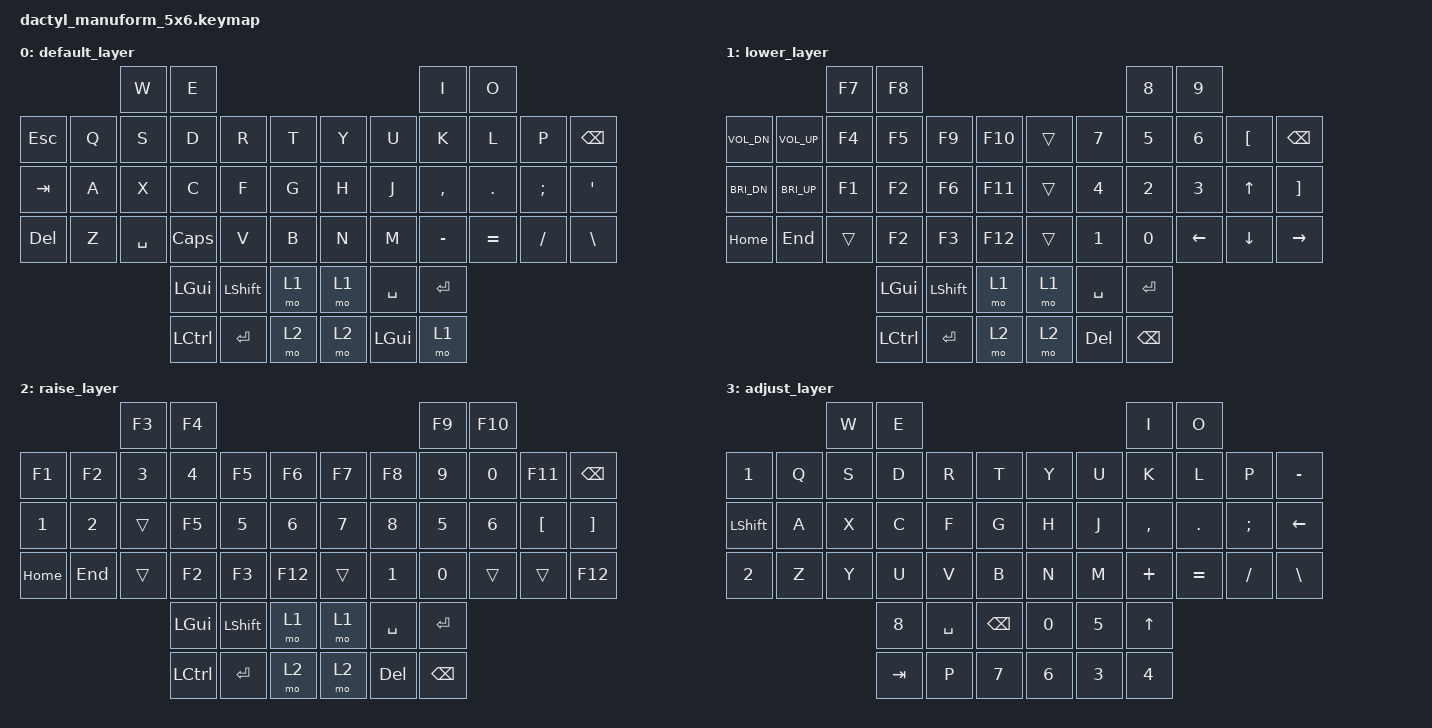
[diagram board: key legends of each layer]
#include <behaviors.dtsi>
#include <dt-bindings/zmk/keys.h>
#include <dt-bindings/zmk/bt.h>
#include <dt-bindings/zmk/outputs.h>

#define DEFAULT 0
#define LWR 1
#define RSE 2
#define ADJ 3

/ {
    keymap {
        compatible = "zmk,keymap";

        default_layer {
        bindings = <
                    &kp W       &kp E                                               &kp I       &kp O
&kp ESC &kp Q       &kp S       &kp D       &kp R       &kp T     &kp Y &kp U       &kp K       &kp L       &kp P         &kp BSPC
&kp TAB &kp A       &kp X       &kp C       &kp F       &kp G     &kp H &kp J       &kp COMMA   &kp DOT     &kp SEMI      &kp SQT
&kp DEL &kp Z       &kp SPACE   &kp CAPS    &kp V       &kp B     &kp N &kp M       &kp MINUS   &kp EQUAL   &kp FSLH      &kp BSLH
                                &kp LGUI    &kp LSHIFT  &mo 1     &mo 1 &kp SPACE   &kp ENTER
                                &kp LCTRL   &kp ENTER   &mo 2     &mo 2 &kp LGUI     &mo 1
                                                                                                                                  
                                            
            >;
        };

        lower_layer {
            bindings = <
                          &kp F7    &kp F8                                                 &kp N8   &kp N9
&kp C_VOL_DN &kp C_VOL_UP &kp F4    &kp F5   &kp F9     &kp F10        &trans    &kp N7    &kp N5   &kp N6   &kp LBKT &kp BSPC 
&kp C_BRI_DN &kp C_BRI_UP &kp F1    &kp F2   &kp F6     &kp F11        &trans    &kp N4    &kp N2   &kp N3   &kp UP   &kp RBKT
&kp HOME     &kp END      &trans    &kp F2   &kp F3     &kp F12        &trans    &kp N1    &kp N0   &kp LEFT &kp DOWN &kp RIGHT
                                    &kp LGUI  &kp LSHIFT  &mo 1          &mo 1    &kp SPACE &kp ENTER
                                    &kp LCTRL &kp ENTER   &mo 2          &mo 2    &kp DEL   &kp BSPC

            >;
        };

        raise_layer {
            bindings = <
                          &kp F3    &kp F4                                                &kp F9   &kp F10
&kp F1       &kp F2       &kp N3    &kp N4   &kp F5  &kp F6           &kp F7    &kp F8    &kp N9   &kp N0  &kp F11  &kp BSPC 
&kp N1       &kp N2       &trans    &kp F5   &kp N5  &kp N6           &kp N7    &kp N8    &kp N5   &kp N6  &kp LBKT &kp RBKT 
&kp HOME     &kp END      &trans    &kp F2   &kp F3  &kp F12          &trans    &kp N1    &kp N0   &trans  &trans   &kp F12
                               &kp LGUI  &kp LSHIFT  &mo 1            &mo 1    &kp SPACE &kp ENTER
                               &kp LCTRL &kp ENTER   &mo 2            &mo 2    &kp DEL   &kp BSPC
            >;
        };

        adjust_layer {
            bindings = <
                   &kp W    &kp E                                                  &kp I      &kp O
  &kp N1    &kp Q  &kp S    &kp D    &kp R      &kp T           &kp Y    &kp U     &kp K      &kp L     &kp P     &kp MINUS
  &kp LSHFT &kp A  &kp X    &kp C    &kp F      &kp G           &kp H    &kp J     &kp COMMA  &kp DOT   &kp SEMI  &kp LEFT
  &kp N2    &kp Z  &kp Y    &kp U    &kp V      &kp B           &kp N    &kp M     &kp PLUS   &kp EQUAL &kp FSLH  &kp BSLH
                            &kp N8   &kp SPACE  &kp BSPC        &kp N0   &kp N5    &kp UP
                            &kp TAB  &kp P      &kp N7          &kp N6   &kp N3    &kp N4
            >;
        };
    };
};
